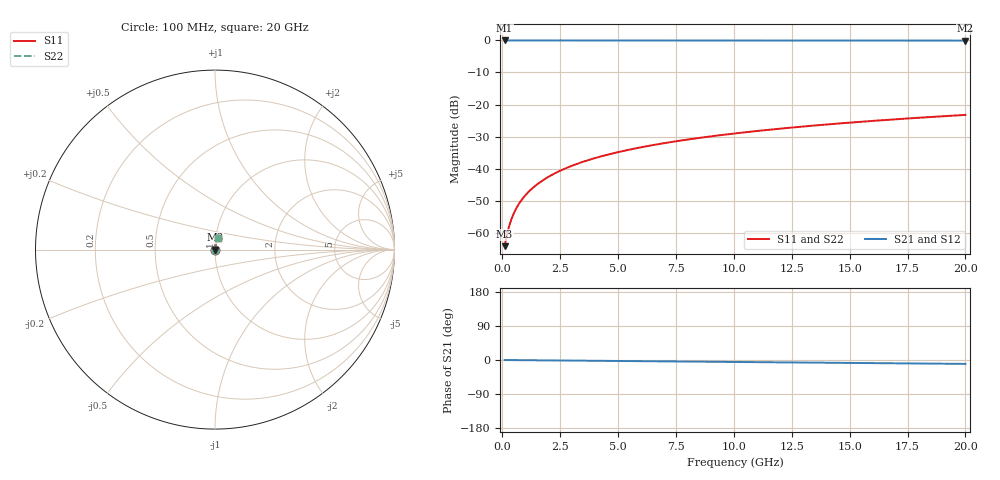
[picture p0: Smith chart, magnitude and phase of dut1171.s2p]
! Touchstone file exported from HFSS 2026.1.0
!  File:  C:/ffzhzh/LocalFiles/Ansys_Project_Files/temp_train_TSV_1171_1783191990_43440.aedt
!  Generated:  03:08:21 AM Jul  5, 2026
!  Design:  TSV
!  Project:  temp_train_TSV_1171_1783191990_43440
! Variables:
!  h_bsmrdl = 2um
!  h_ox = 20um
!  h_rdl = 5um
!  h_sub = 97.54um
!  h_tmrdl = 5um
!  h_tsv = 97.54um
!  h_via = 3um
!  l_bsmrdl = 300um
!  l_sub = 410.04um
!  l_tmrdl = 200um
!  m_sub = 200um
!  pitch = 37.12um
!  r_tsv = 5.02um
!  s_tmrdl = 10um
!  w_bsmrdl = 18um
!  w_sub = 500um
!  w_tmrdl = 12um
!  x_tsv_center1 = 206um
!  x_tsv_center2 = 524um
!  x_tsv_center3 = 736um
!  x_tsv_center4 = 1054um
!  x_tsv_center5 = 1266um
!  x_tsv_center6 = 1584um
# GHz S MA R 50.000000
! Terminal data exported
! Port[1] = TSV1_1_T1
! Port[2] = TSV1_1_T2
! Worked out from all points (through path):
!   200 points, 100 MHz to 20 GHz, reference 50 ohm
!   highest |S21| = 0.00 dB at 100 MHz (marker M1); lowest = 0.0 dB at 20 GHz (marker M2)
!   group delay of S21, straight-line fit = 1.42 ps
!   lowest |S11| = -64.2 dB at 100 MHz (marker M3), VSWR 1.00, Z = 50 + j0.0397 ohm
!   |S11| at or under -10 dB: start of sweep to end of sweep
!   |S22| runs from -64.2 to -23.2 dB; largest |S21 - S12| = 3e-15
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0.1  0.0006174 39.9  0.9995 -0.1  0.9995 -0.1  0.0006174 39.9
! Gamma 0 0 0 0
! Port Impedance 50 0 50 0
0.2  0.0009271 58.4  0.9995 -0.1  0.9995 -0.1  0.0009271 58.4
0.3  0.001282 66.9  0.9995 -0.2  0.9995 -0.2  0.001282 66.9
0.4  0.00165 71.5  0.9995 -0.2  0.9995 -0.2  0.00165 71.5
0.5  0.002019 74.2  0.9995 -0.3  0.9995 -0.3  0.002019 74.2
0.6  0.002389 76.1  0.9994 -0.3  0.9994 -0.3  0.002389 76.1
0.8  0.003123 78.5  0.9994 -0.4  0.9994 -0.4  0.003123 78.5
1.1  0.004217 80.5  0.9993 -0.6  0.9993 -0.6  0.004217 80.5
1.5  0.00567 81.9  0.9993 -0.8  0.9993 -0.8  0.00567 81.9
1.8  0.006756 82.6  0.9992 -1.0  0.9992 -1.0  0.006756 82.6
2.1  0.007839 82.9  0.9991 -1.1  0.9991 -1.1  0.007839 82.9
2.7  0.009993 83.4  0.999 -1.4  0.999 -1.4  0.009993 83.4
3.5  0.01284 83.5  0.9989 -1.8  0.9989 -1.8  0.01284 83.5
4.2  0.0153 83.5  0.9987 -2.2  0.9987 -2.2  0.0153 83.5
5  0.0181 83.3  0.9986 -2.6  0.9986 -2.6  0.0181 83.3
5.9  0.02122 83.1  0.9984 -3.1  0.9984 -3.1  0.02122 83.1
6.8  0.02432 82.9  0.9982 -3.5  0.9982 -3.5  0.02432 82.9
8.3  0.02946 82.4  0.9979 -4.3  0.9979 -4.3  0.02946 82.4
10.1  0.03561 81.8  0.9975 -5.2  0.9975 -5.2  0.03561 81.8
13.4  0.04681 80.5  0.9968 -6.9  0.9968 -6.9  0.04681 80.5
16.7  0.05792 79.1  0.996 -8.6  0.996 -8.6  0.05792 79.1
20  0.06891 77.6  0.995 -10.3  0.995 -10.3  0.06891 77.6
